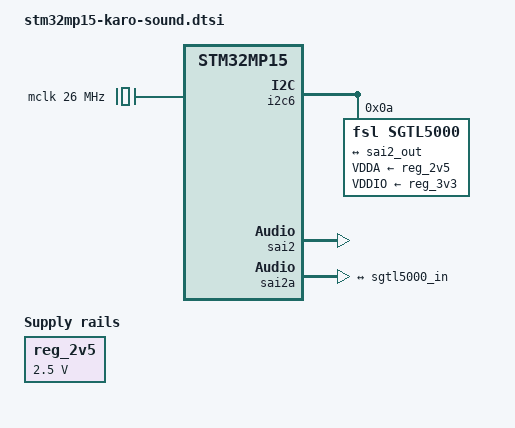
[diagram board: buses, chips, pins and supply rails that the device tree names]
// SPDX-License-Identifier: (GPL-2.0 OR BSD-3-Clause)

#include <dt-bindings/clock/stm32mp1-clks.h>
#include <dt-bindings/gpio/gpio.h>
#include <dt-bindings/interrupt-controller/arm-gic.h>

/ {
	#address-cells = <1>;
	#size-cells = <0>;

	fragment@200 {
		reg = <0x200>;
		target-path = "/";

		__overlay__ {
			mclk: codec-mclk {
				compatible = "fixed-clock";
				#clock-cells = <0>;
				clock-frequency = <26000000>;
			};

			reg_2v5: regulator-2v5 {
				compatible = "regulator-fixed";
				regulator-name = "2v5";
				regulator-min-microvolt = <2500000>;
				regulator-max-microvolt = <2500000>;
				regulator-always-on;
			};

			sound {
				compatible = "karo,stm32mp15-sgtl5000",
					     "audio-graph-card";
				label = "TXMP-SGTL5000";
				widgets =
					"Microphone", "Mic Jack",
					"Line", "Line In",
					"Line", "Line Out",
					"Headphone", "Headphone Jack";
				routing =
					"MIC_IN", "Mic Jack",
					"Mic Jack", "Mic Bias",
					"Headphone Jack", "HP_OUT";
				dais = <&sai2a_port>;
				status = "okay";
			};
		};
	};

	fragment@201 {
		reg = <0x201>;
		target = <&i2c6>;

		__overlay__ {
			#address-cells = <1>;
			#size-cells = <0>;
			status = "okay";

			sgtl5000: codec@a {
				compatible = "fsl,sgtl5000";
				#sound-dai-cells = <0>;
				reg = <0xa>;
				VDDA-supply = <&reg_2v5>;
				VDDIO-supply = <&reg_3v3>;
				clocks = <&mclk>;
				status = "okay";

				port {
					sgtl5000_in: endpoint {
						remote-endpoint = <&sai2_out>;
					};
				};
			};
		};
	};

	fragment@202 {
		reg = <0x202>;
		target = <&sai2>;

		__overlay__ {
			clocks = <&rcc SAI2>, <&rcc PLL3_Q>, <&rcc PLL3_R>;
			clock-names = "pclk", "x8k", "x11k";
			status = "okay";
		};

	};

	fragment@203 {
		reg = <0x203>;
		target = <&sai2a>;

		__overlay__ {
			#clock-cells = <0>;
			dma-names = "tx";
			status = "okay";

			sai2a_port: port {
				sai2_out: endpoint {
					remote-endpoint = <&sgtl5000_in>;
					dai-format = "i2s";
					bitclock-master = <&sgtl5000>;
					mclk-fs = <256>;
				};
			};
		};
	};
};
